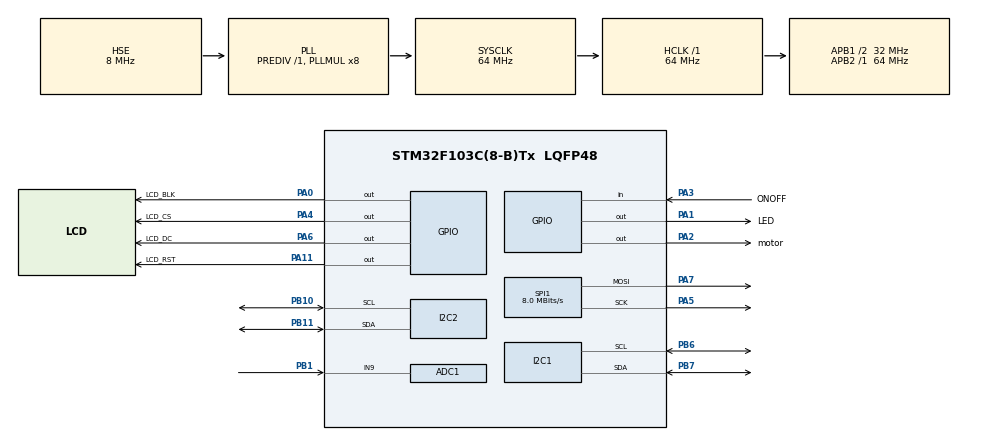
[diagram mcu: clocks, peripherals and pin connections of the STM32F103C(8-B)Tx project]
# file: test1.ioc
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ADC1.Channel-0\#ChannelRegularConversion=ADC_CHANNEL_9
ADC1.NbrOfConversionFlag=1
ADC1.Rank-0\#ChannelRegularConversion=1
ADC1.SamplingTime-0\#ChannelRegularConversion=ADC_SAMPLETIME_1CYCLE_5
ADC1.master=1
Dma.Request0=SPI1_TX
Dma.SPI1_TX.0.Direction=DMA_MEMORY_TO_PERIPH
Dma.SPI1_TX.0.Instance=DMA1_Channel3
Dma.SPI1_TX.0.MemDataAlignment=DMA_MDATAALIGN_BYTE
Dma.SPI1_TX.0.MemInc=DMA_MINC_ENABLE
Dma.SPI1_TX.0.Mode=DMA_NORMAL
Dma.SPI1_TX.0.PeriphDataAlignment=DMA_PDATAALIGN_BYTE
Dma.SPI1_TX.0.PeriphInc=DMA_PINC_DISABLE
Dma.SPI1_TX.0.Priority=DMA_PRIORITY_MEDIUM
Mcu.Family=STM32F1
Mcu.Name=STM32F103C(8-B)Tx
Mcu.Package=LQFP48
NVIC.ADC1_2_IRQn=true\:0\:0\:false\:false\:true\:true\:true\:true
NVIC.DMA1_Channel3_IRQn=true\:0\:0\:false\:false\:true\:false\:true\:true
NVIC.I2C1_ER_IRQn=true\:0\:0\:false\:false\:true\:true\:true\:true
NVIC.I2C1_EV_IRQn=true\:0\:0\:false\:false\:true\:true\:true\:true
NVIC.I2C2_ER_IRQn=true\:0\:0\:false\:false\:true\:true\:true\:true
NVIC.I2C2_EV_IRQn=true\:0\:0\:false\:false\:true\:true\:true\:true
NVIC.PriorityGroup=NVIC_PRIORITYGROUP_4
NVIC.RTC_Alarm_IRQn=true\:0\:0\:false\:false\:true\:true\:true\:true
NVIC.RTC_IRQn=true\:0\:0\:false\:false\:true\:true\:true\:true
PA0-WKUP.GPIO_Label=LCD_BLK
PA0-WKUP.GPIO_Speed=GPIO_SPEED_FREQ_HIGH
PA0-WKUP.PinState=GPIO_PIN_SET
PA0-WKUP.Signal=GPIO_Output
PA1.GPIO_Label=LED
PA1.GPIO_Speed=GPIO_SPEED_FREQ_HIGH
PA1.Signal=GPIO_Output
PA10.Signal=USART1_RX
PA11.GPIO_Label=LCD_RST
PA11.GPIO_Speed=GPIO_SPEED_FREQ_HIGH
PA11.PinState=GPIO_PIN_SET
PA11.Signal=GPIO_Output
PA2.GPIO_Label=motor
PA2.GPIO_Speed=GPIO_SPEED_FREQ_HIGH
PA2.PinState=GPIO_PIN_RESET
PA2.Signal=GPIO_Output
PA3.GPIO_Label=ONOFF
PA3.GPIO_PuPd=GPIO_PULLUP
PA3.Signal=GPIO_Input
PA4.GPIO_Label=LCD_CS
PA4.GPIO_Speed=GPIO_SPEED_FREQ_HIGH
PA4.PinState=GPIO_PIN_SET
PA4.Signal=GPIO_Output
PA5.Mode=TX_Only_Simplex_Unidirect_Master
PA5.Signal=SPI1_SCK
PA6.GPIO_Label=LCD_DC
PA6.GPIO_Speed=GPIO_SPEED_FREQ_HIGH
PA6.PinState=GPIO_PIN_SET
PA6.Signal=GPIO_Output
PA7.Mode=TX_Only_Simplex_Unidirect_Master
PA7.Signal=SPI1_MOSI
PA9.Signal=USART1_TX
PB1.Signal=ADCx_IN9
PB10.Mode=I2C
PB10.Signal=I2C2_SCL
PB11.Mode=I2C
PB11.Signal=I2C2_SDA
PB6.Mode=I2C
PB6.Signal=I2C1_SCL
PB7.Mode=I2C
PB7.Signal=I2C1_SDA
PC14-OSC32_IN.Mode=LSE-External-Oscillator
PC14-OSC32_IN.Signal=RCC_OSC32_IN
PC15-OSC32_OUT.Mode=LSE-External-Oscillator
PC15-OSC32_OUT.Signal=RCC_OSC32_OUT
PD0-OSC_IN.Mode=HSE-External-Oscillator
PD0-OSC_IN.Signal=RCC_OSC_IN
PD1-OSC_OUT.Mode=HSE-External-Oscillator
PD1-OSC_OUT.Signal=RCC_OSC_OUT
ProjectManager.HeapSize=0x200
ProjectManager.StackSize=0x400
ProjectManager.TargetToolchain=STM32CubeIDE
RCC.ADCPresc=RCC_ADCPCLK2_DIV6
RCC.AHBFreq_Value=64000000
RCC.APB1CLKDivider=RCC_HCLK_DIV2
RCC.APB1Freq_Value=32000000
RCC.APB1TimFreq_Value=64000000
RCC.APB2Freq_Value=64000000
RCC.APB2TimFreq_Value=64000000
RCC.HCLKFreq_Value=64000000
RCC.PLLMUL=RCC_PLL_MUL8
RCC.PLLSourceVirtual=RCC_PLLSOURCE_HSE
RCC.RTCClockSelection=RCC_RTCCLKSOURCE_LSE
RCC.SYSCLKFreq_VALUE=64000000
RCC.SYSCLKSource=RCC_SYSCLKSOURCE_PLLCLK
RCC.USBFreq_Value=64000000
RTC.Date=15
RTC.Hours=4
RTC.Month=RTC_MONTH_JUNE
RTC.WeekDay=RTC_WEEKDAY_SUNDAY
RTC.Year=25
SH.ADCx_IN9.0=ADC1_IN9,IN9
SPI1.BaudRatePrescaler=SPI_BAUDRATEPRESCALER_8
SPI1.CalculateBaudRate=8.0 MBits/s
SPI1.Direction=SPI_DIRECTION_2LINES
SPI1.Mode=SPI_MODE_MASTER
SPI1.VirtualType=VM_MASTER
VP_RTC_VS_RTC_Activate.Mode=RTC_Enabled
VP_RTC_VS_RTC_Calendar.Mode=RTC_Calendar
VP_SYS_VS_ND.Mode=No_Debug
board=custom

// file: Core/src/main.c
/*  ******************************************************************************
  * Author        : VoltVersa
  * Institution   : Thomas More 2025
  ******************************************************************************
*/

/* USER CODE BEGIN Header */
/**
  ******************************************************************************
  * @file           : main.c
  * @brief         : Main program body
  ******************************************************************************
  * @attention
  *
  * Copyright (c) 2025 STMicroelectronics.
  * All rights reserved.
  *
  * This software is licensed under terms that can be found in the LICENSE file
  * in the root directory of this software component.
  * If no LICENSE file comes with this software, it is provided AS-IS.
  *
  ******************************************************************************
  */
/* USER CODE END Header */
#include "main.h"

/* USER CODE BEGIN Includes */
#include "cg9a01.h"

#include "font8x16.h"
#include "max30102_for_stm32_hal.h"
#include <stdio.h>     // for snprintf()
#include <stdbool.h>   // for bool, true, false
#include <stdint.h>
#include <string.h>
#include <stdlib.h>
#include <string.h>
#include <math.h>
/* USER CODE END Includes */

ADC_HandleTypeDef hadc1;

I2C_HandleTypeDef hi2c1;
I2C_HandleTypeDef hi2c2;

RTC_HandleTypeDef hrtc;

SPI_HandleTypeDef hspi1;
DMA_HandleTypeDef hdma_spi1_tx;

/* USER CODE BEGIN PV */
/* ===================== UI colors ===================== */
#define BACKGROUND  0x0010   // dark navy background
/* ===================== TMP117 (I2C temperature sensor) ===================== */
#define TMP117_ADDR_BASE 0x48
#define TMP117_ADDR (TMP117_ADDR_BASE << 1) // HAL uses 8-bit address
#define TMP117_REG_TEMP 0x00
#define TMP117_REG_CONFIG 0x01
#define TMP117_REG_ID 0x0F
#define TMP117_DRDY_BIT (1U << 13) // CONFIG bit13 = DRDY
#define TMP117_LSB_C (0.0078125f) // 1 LSB = 0.0078125 °C

/* ===================== Battery measurement (10k:10k divider) ===================== */
#define ADC_MAX 4095.0f
#define VDDA 3.300f   /
#define R_TOP_OHM 10000.0f
#define R_BOTTOM_OHM 10000.0f
#define DIV_GAIN ((R_TOP_OHM + R_BOTTOM_OHM) / R_BOTTOM_OHM) // = 2.0 with 10k:10k
#define NUM_SAMPLES 16 // boxcar average

/* ===================== Alerts thresholds & hysteresis ===================== */
#define TEMP_HIGH_C 38.0f
#define TEMP_HIGH_CLEAR 37.5f
#define TEMP_LOW_C 35.0f
#define TEMP_LOW_CLEAR 35.5f
#define BPM_HIGH 120.0f
#define BPM_HIGH_CLEAR 115.0f
#define BPM_LOW 50.0f
#define BPM_LOW_CLEAR 55.0f
#define BATTERY_LOW_PCT 20
#define BATTERY_LOW_CLEAR 25

#define VIB_MS 120 // vibration duration (ms)
#define ALERT_SNOOZE_MS 120000UL // 2 min snooze after ACK

/* ===================== Types & globals ===================== */
typedef enum {
ALERT_NONE = 0,
ALERT_TEMP_HIGH,
ALERT_TEMP_LOW,
ALERT_BPM_HIGH,
ALERT_BPM_LOW,
ALERT_BATT_LOW
} alert_t;

static alert_t alert_state = ALERT_NONE;
static uint32_t vib_off_tick = 0; // stopwatch for motor auto-OFF
static uint32_t alert_snooze_until = 0; // suppress alerts until this tick

// BPM smoothing
#define IR_BUFFER_SIZE 800
uint32_t ir_buffer[IR_BUFFER_SIZE];
uint32_t ir_index = 0;
float g_bpm = 0.0f;
float bpm_buffer[20] = {0};
int bpm_index = 0;
int bpm_count = 0;
uint32_t last_beat_time = 0;
#define MAX30205_ADDR       (0x48 << 1)  // 0x90 write, 0x91 read
#define MAX30205_TEMP_REG   0x00
char received_char;

// RTC
static RTC_TimeTypeDef nowTime;
static RTC_DateTypeDef nowDate;

// MAX30102 instance

// Display power & key debounce
static bool display_on = true;
static uint32_t btn_last_tick = 0;
static uint8_t btn_last_level = 1; // with pull-up, idle=1

/* USER CODE END PV */

void SystemClock_Config(void);
static void MX_GPIO_Init(void);
static void MX_DMA_Init(void);
static void MX_I2C1_Init(void);
static void MX_I2C2_Init(void);
static void MX_RTC_Init(void);
static void MX_SPI1_Init(void);
static void MX_ADC1_Init(void);
/* USER CODE BEGIN PFP */
void calculate_bpm(uint32_t *buffer, uint32_t length);
volatile uint8_t uart_flag = 0;
static void UI_DrawStatic(void);
static HAL_StatusTypeDef TMP117_Read16(uint8_t reg, uint16_t *out);
static HAL_StatusTypeDef TMP117_Write16(uint8_t reg, uint16_t val);
static void TMP117_StartContinuous_1Hz(void);
static bool TMP117_WaitDRDY(uint32_t timeout_ms);
static float TMP117_ReadTemp_Sync(uint32_t timeout_ms);
static uint16_t TMP117_ReadID(void);
static void Display_Set(bool on);
static bool OnOffButton_Toggled(void);
static void Vibrate_Start(uint32_t ms);
static void Vibrate_Stop(void);
static void Vibrate_Task(void);
static alert_t DecideAlert(float tempC, float bpm, int bat_pct);
static float ReadVBat_V(void);
static int LipoPercentFromVoltage(float v);
/* USER CODE END PFP */

/* USER CODE BEGIN 0 */
/* ===================== TMP117 helpers ===================== */
static HAL_StatusTypeDef TMP117_Read16(uint8_t reg, uint16_t *out)
{
    uint8_t d[2];
    HAL_StatusTypeDef st = HAL_I2C_Mem_Read(&hi2c2, TMP117_ADDR, reg,
                                            I2C_MEMADD_SIZE_8BIT, d, 2, HAL_MAX_DELAY);
    if (st == HAL_OK) *out = (uint16_t)((d[0] << 8) | d[1]);
    return st;
}

static HAL_StatusTypeDef TMP117_Write16(uint8_t reg, uint16_t val)
{
    uint8_t d[2] = { (uint8_t)(val >> 8), (uint8_t)(val & 0xFF) };
    return HAL_I2C_Mem_Write(&hi2c2, TMP117_ADDR, reg,
                              I2C_MEMADD_SIZE_8BIT, d, 2, HAL_MAX_DELAY);
}

// MOD=00 continuous, CONV=100 (1 Hz), AVG=00
static void TMP117_StartContinuous_1Hz(void)
{
    uint16_t cfg = (4U << 7); // bits [9:7] = 100 (1 Hz)
    (void)TMP117_Write16(TMP117_REG_CONFIG, cfg);
}

static bool TMP117_WaitDRDY(uint32_t timeout_ms)
{
    uint32_t t0 = HAL_GetTick();
    while ((HAL_GetTick() - t0) < timeout_ms) {
        uint16_t cfg = 0;
        if (TMP117_Read16(TMP117_REG_CONFIG, &cfg) != HAL_OK) return false;
        if (cfg & TMP117_DRDY_BIT) return true; // fresh sample ready
        HAL_Delay(2);
    }
    return false;
}

static float TMP117_ReadTemp_Sync(uint32_t timeout_ms)
{
    if (!TMP117_WaitDRDY(timeout_ms)) return -100.0f;
    uint16_t raw = 0;
    if (TMP117_Read16(TMP117_REG_TEMP, &raw) != HAL_OK) return -100.0f;
    return (int16_t)raw * TMP117_LSB_C;
}

static uint16_t TMP117_ReadID(void)
{
    uint16_t id = 0; (void)TMP117_Read16(TMP117_REG_ID, &id); return id;
}

/* ===================== MAX30102 BPM (simple peak detector) ===================== */
bool detectPulse(uint32_t irValue)
{
    static uint32_t prev_ir_value = 0;
    static uint8_t falling = 0;
    static uint32_t lastBeat = 0;

    bool pulseDetected = false;

    if (irValue > 50000 && irValue < 300000) // instead of 100000
    {
        if (irValue > prev_ir_value)
        {
            falling = 0;
        }
        else if (irValue < prev_ir_value)
        {
            if (!falling)
            {
                // Detected peak
                uint32_t now = HAL_GetTick();
                uint32_t beat_interval = now - lastBeat;
                lastBeat = now;

                if (beat_interval > 300 && beat_interval < 1500)
                {
                    float bpm = 60000.0f / beat_interval;
                    bpm_buffer[bpm_index++] = bpm;
                    if (bpm_index >= 10) bpm_index = 0;
                    if (bpm_count < 10) bpm_count++;

                    float bpm_sum = 0.0f;
                    for (int i = 0; i < bpm_count; ++i) bpm_sum += bpm_buffer[i];
                    g_bpm = bpm_sum / bpm_count;
                    pulseDetected = true;
                }
                falling = 1;
            }
        }
    }

    prev_ir_value = irValue;

    return pulseDetected;
}
max30102_t max30102;

/* ===================== UI helpers ===================== */
static void UI_DrawStatic(void)
{
    ClearScreen2(BACKGROUND);
    GC9A01_Draw_String(20,  60, "BPM:");
    GC9A01_Draw_String(20,  80, "TEMP:");
    GC9A01_Draw_String(20, 100, "TIME:");
    GC9A01_Draw_String(20, 120, "DATE:");
    GC9A01_Draw_String(20, 140, "Vbat:");
    GC9A01_Draw_String(20, 160, "Batt:");
}

static void UI_ShowAlert(const char* line1, const char* line2)
{
    ClearScreen2(BACKGROUND);
    GC9A01_Draw_String(20,  90, line1);
    if (line2 && line2[0]) GC9A01_Draw_String(20, 110, line2);
}

/* ===================== Display backlight & key ===================== */
static void Display_Set(bool on)
{
    display_on = on;
    HAL_GPIO_WritePin(LCD_BLK_GPIO_Port, LCD_BLK_Pin, on ? GPIO_PIN_SET : GPIO_PIN_RESET);
    if (!on) { HAL_GPIO_WritePin(motor_GPIO_Port, motor_Pin, GPIO_PIN_RESET); vib_off_tick = 0; }
    if (on) UI_DrawStatic(); else ClearScreen2(BACKGROUND);
}

// Debounced, active-low push button -> returns true on press edge
static bool OnOffButton_Toggled(void)
{
    uint8_t level = HAL_GPIO_ReadPin(ONOFF_GPIO_Port, ONOFF_Pin); // 1=idle, 0=pressed
    uint32_t now = HAL_GetTick();
    if (level != btn_last_level) {
        if ((now - btn_last_tick) >= 40) {
            bool falling_edge = (btn_last_level == 1 && level == 0);
            btn_last_level = level; btn_last_tick = now;
            if (falling_edge) return true;
        }
    }
    return false;
}

/* ===================== Vibration motor ===================== */
static void Vibrate_Start(uint32_t ms)
{
    HAL_GPIO_WritePin(motor_GPIO_Port, motor_Pin, GPIO_PIN_SET);
    vib_off_tick = HAL_GetTick() + ms;
}
static void Vibrate_Stop(void)
{
    HAL_GPIO_WritePin(motor_GPIO_Port, motor_Pin, GPIO_PIN_RESET);
    vib_off_tick = 0;
}
static void Vibrate_Task(void)
{
    if (vib_off_tick && HAL_GetTick() >= vib_off_tick) {
        HAL_GPIO_WritePin(motor_GPIO_Port, motor_Pin, GPIO_PIN_RESET);
        vib_off_tick = 0;
    }
}

/* ===================== Alerts engine ===================== */
static alert_t DecideAlert(float tempC, float bpm, int bat_pct)
{
    switch (alert_state) {
        case ALERT_NONE:
            if (bat_pct <= BATTERY_LOW_PCT)            return ALERT_BATT_LOW;
            if (tempC > -50.0f && tempC >= TEMP_HIGH_C) return ALERT_TEMP_HIGH;
            if (tempC > -50.0f && tempC <= TEMP_LOW_C)  return ALERT_TEMP_LOW;
            if (bpm >= BPM_HIGH)                        return ALERT_BPM_HIGH;
            if (bpm > 1.0f && bpm <= BPM_LOW)          return ALERT_BPM_LOW;
            return ALERT_NONE;
        case ALERT_BATT_LOW: return (bat_pct >= BATTERY_LOW_CLEAR) ? ALERT_NONE : ALERT_BATT_LOW;
        case ALERT_TEMP_HIGH:return (tempC <  TEMP_HIGH_CLEAR)     ? ALERT_NONE : ALERT_TEMP_HIGH;
        case ALERT_TEMP_LOW: return (tempC >  TEMP_LOW_CLEAR)      ? ALERT_NONE : ALERT_TEMP_LOW;
        case ALERT_BPM_HIGH: return (bpm   <= BPM_HIGH_CLEAR)      ? ALERT_NONE : ALERT_BPM_HIGH;
        case ALERT_BPM_LOW:  return (bpm   >= BPM_LOW_CLEAR)       ? ALERT_NONE : ALERT_BPM_LOW;
    }
    return ALERT_NONE;
}

/* ===================== Battery helpers ===================== */
typedef struct { float v; int pct; } vp_t;
static const vp_t lipo_lut[] = {
    {4.20f, 100}, {4.15f, 95}, {4.10f, 90}, {4.05f, 85},
    {4.00f, 80},  {3.96f, 75}, {3.92f, 70}, {3.88f, 65},
    {3.85f, 60},  {3.83f, 55}, {3.80f, 50}, {3.78f, 45},
    {3.75f, 40},  {3.73f, 35}, {3.71f, 30}, {3.69f, 25},
    {3.67f, 20},  {3.64f, 15}, {3.61f, 10}, {3.50f, 0}
};

static int LipoPercentFromVoltage(float v)
{
    if (v >= lipo_lut[0].v) return 100;
    if (v <= lipo_lut[sizeof(lipo_lut)/sizeof(lipo_lut[0]) - 1].v) return 0;
    for (size_t i = 0; i < sizeof(lipo_lut)/sizeof(lipo_lut[0]) - 1; ++i) {
        if (v <= lipo_lut[i].v && v >= lipo_lut[i+1].v) {
            float dv   = lipo_lut[i].v   - lipo_lut[i+1].v;
            float dpct = (float)lipo_lut[i].pct - (float)lipo_lut[i+1].pct;
            float t    = (dv > 0.0f) ? (lipo_lut[i].v - v) / dv : 0.0f;
            int pct    = (int)((float)lipo_lut[i].pct - t * dpct + 0.5f);
            if (pct < 0) pct = 0; else if (pct > 100) pct = 100; return pct;
        }
    }
    return 0;
}

static float ReadVBat_V(void)
{
    /* Dummy read for settling */
    HAL_ADC_Start(&hadc1);
    HAL_ADC_PollForConversion(&hadc1, 10);
    (void)HAL_ADC_GetValue(&hadc1);
    HAL_ADC_Stop(&hadc1);

    uint32_t sum = 0;
    for (int i = 0; i < NUM_SAMPLES; i++) {
        HAL_ADC_Start(&hadc1);
        HAL_ADC_PollForConversion(&hadc1, 10);
        sum += HAL_ADC_GetValue(&hadc1);
        HAL_ADC_Stop(&hadc1);
    }
    float raw   = (float)(sum / NUM_SAMPLES);
    float v_adc = (raw / ADC_MAX) * VDDA   ;// voltage at ADC pin
    float v_bat = v_adc * DIV_GAIN;         // back to pack voltage
    return v_bat;
}

/* USER CODE END 0 */

int main(void)
{

  /* MCU Configuration--------------------------------------------------------*/

  /* Reset of all peripherals, Initializes the Flash interface and the Systick. */
  HAL_Init();

  /* Configure the system clock */
  SystemClock_Config();

  /* Initialize all configured peripherals */
  MX_GPIO_Init();
  MX_DMA_Init();
  MX_I2C1_Init();
  MX_I2C2_Init();
  MX_RTC_Init();
  MX_SPI1_Init();
  MX_ADC1_Init();
  /* USER CODE BEGIN 2 */
  HAL_ADCEx_Calibration_Start(&hadc1);

 // HAL_UART_Receive_IT(&huart1, &received_char, 1); // Enable UART RX interrupt

  /* ---- Display init & static UI ---- */
    GC9A01_Initial();
    UI_DrawStatic();
    Display_Set(true);   // ensure backlight state matches and UI is drawn

    /* ---- MAX30102 init: basic SpO2 mode with modest currents ---- */
	  max30102_init(&max30102, &hi2c1);
	  max30102_reset(&max30102);
	  max30102_clear_fifo(&max30102);
	  max30102_set_fifo_config(&max30102, max30102_smp_ave_8, 1, 7);

	  // Sensor settings
	  max30102_set_led_pulse_width(&max30102, max30102_pw_16_bit);
	  max30102_set_adc_resolution(&max30102, max30102_adc_2048);
	  max30102_set_sampling_rate(&max30102, max30102_sr_50);
	  max30102_set_led_current_1(&max30102, 6.2);
	  max30102_set_led_current_2(&max30102, 15);

	  // Enter SpO2 mode
	  max30102_set_mode(&max30102, max30102_spo2);
	  max30102_set_a_full(&max30102, 1);

	  // Initiate 1 temperature measurement
	  max30102_set_die_temp_en(&max30102, 1);
	  max30102_set_die_temp_rdy(&max30102, 1);

	  uint8_t en_reg[2] = {0};
	  max30102_read(&max30102, 0x00, en_reg, 1);
    /* ---- TMP117 init: continuous 1 Hz + quick identity check ---- */
    TMP117_StartContinuous_1Hz();
    uint16_t tmp117_id = TMP117_ReadID();
    if (tmp117_id != 0x0117) {
        // If you see this, address wiring may be 0x49..0x4B or sensor not present.
        GC9A01_Draw_String(20, 160, "TMP117?");
    }
    uint32_t lastUpdate = 0;

  /* USER CODE END 2 */

  /* Infinite loop */
  while (1)
  {

    /* USER CODE BEGIN 3 */

      // Button: ACK alert or toggle display
      if (OnOffButton_Toggled()) {
          if (alert_state != ALERT_NONE) {
              Vibrate_Stop();
              alert_snooze_until = HAL_GetTick() + ALERT_SNOOZE_MS;
              alert_state = ALERT_NONE;
              UI_DrawStatic();
          } else {
              Display_Set(!display_on);
          }
      }

      // Motor auto-off
      Vibrate_Task();

      // Keep sampling even if screen is off (we just skip drawing)
      // Read whatever the sensor has and process ALL non-zero IR samples
      max30102_read_fifo(&max30102);

      for (int i = 0; i < 50; ++i) {
          uint32_t ir  = max30102._ir_samples[i];
          if (ir == 0) continue;          // skip empty slots
          detectPulse(ir);
      }

      float tempC = TMP117_ReadTemp_Sync(1200);      // wait up to one 1 Hz cycle
      float v_bat = ReadVBat_V();
      static float filtered_vbat = -1.0f;

      if (filtered_vbat < 0.0f) {
          filtered_vbat = v_bat;
      } else if (fabsf(v_bat - filtered_vbat) > 0.15f) {  // >150 mV jump? snap to it
          filtered_vbat = v_bat;
      } else {
          filtered_vbat = 0.8f*filtered_vbat + 0.2f*v_bat; // faster settling
      }

      int battery_percent = LipoPercentFromVoltage(filtered_vbat);

      // Alert engine with snooze
      bool    snoozed    = (alert_snooze_until != 0U) && (HAL_GetTick() < alert_snooze_until);
      alert_t decided    = DecideAlert(tempC, g_bpm, battery_percent);
      alert_t new_alert  = snoozed ? ALERT_NONE : decided;

      if (new_alert != alert_state) {
          alert_state = new_alert;
          if (alert_state != ALERT_NONE) {
              Vibrate_Start(VIB_MS);
              char line1[32], line2[32] = {0};
              switch (alert_state) {
                  case ALERT_BATT_LOW:
                      snprintf(line1, sizeof(line1), "LOW BATTERY!");
                      snprintf(line2, sizeof(line2), "%d%%  (<=%d%%)", battery_percent, BATTERY_LOW_PCT);
                      break;
                  case ALERT_TEMP_HIGH:
                      snprintf(line1, sizeof(line1), "TEMP TOO HIGH!");
                      snprintf(line2, sizeof(line2), "%.2f C  (>%.1f)", tempC, TEMP_HIGH_C);
                      break;
                  case ALERT_TEMP_LOW:
                      snprintf(line1, sizeof(line1), "TEMP TOO LOW!");
                      snprintf(line2, sizeof(line2), "%.2f C  (<%.1f)", tempC, TEMP_LOW_C);
                      break;
                  case ALERT_BPM_HIGH:
                      snprintf(line1, sizeof(line1), "HIGH BPM!");
                      snprintf(line2, sizeof(line2), "%.1f  (>%.0f)", g_bpm, BPM_HIGH);
                      break;
                  case ALERT_BPM_LOW:
                      snprintf(line1, sizeof(line1), "LOW BPM!");
                      snprintf(line2, sizeof(line2), "%.1f  (<%.0f)", g_bpm, BPM_LOW);
                      break;
                  default: break;
              }
              UI_ShowAlert(line1, line2);
          } else {
              UI_DrawStatic();
          }
      }
      if (alert_snooze_until && HAL_GetTick() >= alert_snooze_until) alert_snooze_until = 0;

      // UI refresh (skip if screen off or in alert)
      if (display_on && alert_state == ALERT_NONE) {
          uint32_t now = HAL_GetTick();
          if ((now - lastUpdate) >= 500) {
              lastUpdate = now;
              HAL_RTC_GetTime(&hrtc, &nowTime, RTC_FORMAT_BIN);
              HAL_RTC_GetDate(&hrtc, &nowDate, RTC_FORMAT_BIN);
              char bpmStr[24], tempStr[24], timeStr[24], dateStr[24], vbatStr[24], batperStr[24];
              snprintf(bpmStr,   sizeof(bpmStr),   "%5.1f  ", g_bpm);
              if (tempC > -50.0f) snprintf(tempStr, sizeof(tempStr), "%6.2f C  ", tempC);
              else                 snprintf(tempStr, sizeof(tempStr), "  --      ");
              snprintf(timeStr,  sizeof(timeStr),  "%02u:%02u:%02u",
                       nowTime.Hours, nowTime.Minutes, nowTime.Seconds);
              snprintf(dateStr,  sizeof(dateStr),  "%02u-%02u-20%02u",
                       nowDate.Date, nowDate.Month, nowDate.Year);
              snprintf(vbatStr,  sizeof(vbatStr),  "%6.3f V  ", filtered_vbat);
              snprintf(batperStr,sizeof(batperStr),"%3d %%   ", battery_percent);
              GC9A01_Draw_String(90,  60, bpmStr);
              GC9A01_Draw_String(90,  80, tempStr);
              GC9A01_Draw_String(90, 100, timeStr);
              GC9A01_Draw_String(90, 120, dateStr);
              GC9A01_Draw_String(90, 140, vbatStr);
              GC9A01_Draw_String(90, 160, batperStr);
          }
      }
  }

  /* USER CODE END 3 */
}

void SystemClock_Config(void)
{
  RCC_OscInitTypeDef RCC_OscInitStruct = {0};
  RCC_ClkInitTypeDef RCC_ClkInitStruct = {0};
  RCC_PeriphCLKInitTypeDef PeriphClkInit = {0};

  /** Initializes the RCC Oscillators according to the specified parameters
  * in the RCC_OscInitTypeDef structure.
  */
  RCC_OscInitStruct.OscillatorType = RCC_OSCILLATORTYPE_HSE|RCC_OSCILLATORTYPE_LSE;
  RCC_OscInitStruct.HSEState = RCC_HSE_ON;
  RCC_OscInitStruct.HSEPredivValue = RCC_HSE_PREDIV_DIV1;
  RCC_OscInitStruct.LSEState = RCC_LSE_ON;
  RCC_OscInitStruct.HSIState = RCC_HSI_ON;
  RCC_OscInitStruct.PLL.PLLState = RCC_PLL_ON;
  RCC_OscInitStruct.PLL.PLLSource = RCC_PLLSOURCE_HSE;
  RCC_OscInitStruct.PLL.PLLMUL = RCC_PLL_MUL8;
  if (HAL_RCC_OscConfig(&RCC_OscInitStruct) != HAL_OK)
  {
    Error_Handler();
  }

  /** Initializes the CPU, AHB and APB buses clocks
  */
  RCC_ClkInitStruct.ClockType = RCC_CLOCKTYPE_HCLK|RCC_CLOCKTYPE_SYSCLK
                              |RCC_CLOCKTYPE_PCLK1|RCC_CLOCKTYPE_PCLK2;
  RCC_ClkInitStruct.SYSCLKSource = RCC_SYSCLKSOURCE_PLLCLK;
  RCC_ClkInitStruct.AHBCLKDivider = RCC_SYSCLK_DIV1;
  RCC_ClkInitStruct.APB1CLKDivider = RCC_HCLK_DIV2;
  RCC_ClkInitStruct.APB2CLKDivider = RCC_HCLK_DIV1;

  if (HAL_RCC_ClockConfig(&RCC_ClkInitStruct, FLASH_LATENCY_2) != HAL_OK)
  {
    Error_Handler();
  }
  PeriphClkInit.PeriphClockSelection = RCC_PERIPHCLK_RTC|RCC_PERIPHCLK_ADC;
  PeriphClkInit.RTCClockSelection = RCC_RTCCLKSOURCE_LSE;
  PeriphClkInit.AdcClockSelection = RCC_ADCPCLK2_DIV6;
  if (HAL_RCCEx_PeriphCLKConfig(&PeriphClkInit) != HAL_OK)
  {
    Error_Handler();
  }
}

static void MX_ADC1_Init(void)
{

  ADC_ChannelConfTypeDef sConfig = {0};

  /** Common config
  */
  hadc1.Instance = ADC1;
  hadc1.Init.ScanConvMode = ADC_SCAN_DISABLE;
  hadc1.Init.ContinuousConvMode = DISABLE;
  hadc1.Init.DiscontinuousConvMode = DISABLE;
  hadc1.Init.ExternalTrigConv = ADC_SOFTWARE_START;
  hadc1.Init.DataAlign = ADC_DATAALIGN_RIGHT;
  hadc1.Init.NbrOfConversion = 1;
  if (HAL_ADC_Init(&hadc1) != HAL_OK)
  {
    Error_Handler();
  }

  /** Configure Regular Channel
  */
  sConfig.Channel = ADC_CHANNEL_9;
  sConfig.Rank = ADC_REGULAR_RANK_1;
  sConfig.SamplingTime = ADC_SAMPLETIME_1CYCLE_5;
  if (HAL_ADC_ConfigChannel(&hadc1, &sConfig) != HAL_OK)
  {
    Error_Handler();
  }

}

static void MX_I2C1_Init(void)
{

  hi2c1.Instance = I2C1;
  hi2c1.Init.ClockSpeed = 100000;
  hi2c1.Init.DutyCycle = I2C_DUTYCYCLE_2;
  hi2c1.Init.OwnAddress1 = 0;
  hi2c1.Init.AddressingMode = I2C_ADDRESSINGMODE_7BIT;
  hi2c1.Init.DualAddressMode = I2C_DUALADDRESS_DISABLE;
  hi2c1.Init.OwnAddress2 = 0;
  hi2c1.Init.GeneralCallMode = I2C_GENERALCALL_DISABLE;
  hi2c1.Init.NoStretchMode = I2C_NOSTRETCH_DISABLE;
  if (HAL_I2C_Init(&hi2c1) != HAL_OK)
  {
    Error_Handler();
  }

}

static void MX_I2C2_Init(void)
{

  hi2c2.Instance = I2C2;
  hi2c2.Init.ClockSpeed = 100000;
  hi2c2.Init.DutyCycle = I2C_DUTYCYCLE_2;
  hi2c2.Init.OwnAddress1 = 0;
  hi2c2.Init.AddressingMode = I2C_ADDRESSINGMODE_7BIT;
  hi2c2.Init.DualAddressMode = I2C_DUALADDRESS_DISABLE;
  hi2c2.Init.OwnAddress2 = 0;
  hi2c2.Init.GeneralCallMode = I2C_GENERALCALL_DISABLE;
  hi2c2.Init.NoStretchMode = I2C_NOSTRETCH_DISABLE;
  if (HAL_I2C_Init(&hi2c2) != HAL_OK)
  {
    Error_Handler();
  }

}

static void MX_RTC_Init(void)
{

  RTC_TimeTypeDef sTime = {0};
  RTC_DateTypeDef DateToUpdate = {0};

  /** Initialize RTC Only
  */
  hrtc.Instance = RTC;
  hrtc.Init.AsynchPrediv = RTC_AUTO_1_SECOND;
  hrtc.Init.OutPut = RTC_OUTPUTSOURCE_ALARM;
  if (HAL_RTC_Init(&hrtc) != HAL_OK)
  {
    Error_Handler();
  }

  /** Initialize RTC and set the Time and Date
  */
  sTime.Hours = 0x4;
  sTime.Minutes = 0x0;
  sTime.Seconds = 0x0;

  if (HAL_RTC_SetTime(&hrtc, &sTime, RTC_FORMAT_BCD) != HAL_OK)
  {
    Error_Handler();
  }
  DateToUpdate.WeekDay = RTC_WEEKDAY_SUNDAY;
  DateToUpdate.Month = RTC_MONTH_JUNE;
  DateToUpdate.Date = 0x15;
  DateToUpdate.Year = 0x25;

  if (HAL_RTC_SetDate(&hrtc, &DateToUpdate, RTC_FORMAT_BCD) != HAL_OK)
  {
    Error_Handler();
  }

}

static void MX_SPI1_Init(void)
{

  /* SPI1 parameter configuration*/
  hspi1.Instance = SPI1;
  hspi1.Init.Mode = SPI_MODE_MASTER;
  hspi1.Init.Direction = SPI_DIRECTION_2LINES;
  hspi1.Init.DataSize = SPI_DATASIZE_8BIT;
  hspi1.Init.CLKPolarity = SPI_POLARITY_LOW;
  hspi1.Init.CLKPhase = SPI_PHASE_1EDGE;
  hspi1.Init.NSS = SPI_NSS_SOFT;
  hspi1.Init.BaudRatePrescaler = SPI_BAUDRATEPRESCALER_8;
  hspi1.Init.FirstBit = SPI_FIRSTBIT_MSB;
  hspi1.Init.TIMode = SPI_TIMODE_DISABLE;
  hspi1.Init.CRCCalculation = SPI_CRCCALCULATION_DISABLE;
  hspi1.Init.CRCPolynomial = 10;
  if (HAL_SPI_Init(&hspi1) != HAL_OK)
  {
    Error_Handler();
  }

}

static void MX_DMA_Init(void)
{

  /* DMA controller clock enable */
  __HAL_RCC_DMA1_CLK_ENABLE();

  /* DMA interrupt init */
  /* DMA1_Channel3_IRQn interrupt configuration */
  HAL_NVIC_SetPriority(DMA1_Channel3_IRQn, 0, 0);
  HAL_NVIC_EnableIRQ(DMA1_Channel3_IRQn);

}

static void MX_GPIO_Init(void)
{
  GPIO_InitTypeDef GPIO_InitStruct = {0};

  /* GPIO Ports Clock Enable */
  __HAL_RCC_GPIOC_CLK_ENABLE();
  __HAL_RCC_GPIOD_CLK_ENABLE();
  __HAL_RCC_GPIOA_CLK_ENABLE();
  __HAL_RCC_GPIOB_CLK_ENABLE();

  /*Configure GPIO pin Output Level */
  HAL_GPIO_WritePin(GPIOA, LCD_BLK_Pin|LCD_CS_Pin|LCD_DC_Pin|LCD_RST_Pin, GPIO_PIN_SET);

  /*Configure GPIO pin Output Level */
  HAL_GPIO_WritePin(GPIOA, LED_Pin|motor_Pin, GPIO_PIN_RESET);

  /*Configure GPIO pins : LCD_BLK_Pin LED_Pin motor_Pin LCD_CS_Pin
                           LCD_DC_Pin LCD_RST_Pin */
  GPIO_InitStruct.Pin = LCD_BLK_Pin|LED_Pin|motor_Pin|LCD_CS_Pin
                          |LCD_DC_Pin|LCD_RST_Pin;
  GPIO_InitStruct.Mode = GPIO_MODE_OUTPUT_PP;
  GPIO_InitStruct.Pull = GPIO_NOPULL;
  GPIO_InitStruct.Speed = GPIO_SPEED_FREQ_HIGH;
  HAL_GPIO_Init(GPIOA, &GPIO_InitStruct);

  /*Configure GPIO pin : ONOFF_Pin */
  GPIO_InitStruct.Pin = ONOFF_Pin;
  GPIO_InitStruct.Mode = GPIO_MODE_INPUT;
  GPIO_InitStruct.Pull = GPIO_PULLUP;
  HAL_GPIO_Init(ONOFF_GPIO_Port, &GPIO_InitStruct);

  /*Configure GPIO pin : PA9 */
  GPIO_InitStruct.Pin = GPIO_PIN_9;
  GPIO_InitStruct.Mode = GPIO_MODE_AF_PP;
  GPIO_InitStruct.Speed = GPIO_SPEED_FREQ_HIGH;
  HAL_GPIO_Init(GPIOA, &GPIO_InitStruct);

  /*Configure GPIO pin : PA10 */
  GPIO_InitStruct.Pin = GPIO_PIN_10;
  GPIO_InitStruct.Mode = GPIO_MODE_INPUT;
  GPIO_InitStruct.Pull = GPIO_NOPULL;
  HAL_GPIO_Init(GPIOA, &GPIO_InitStruct);

}

void Error_Handler(void)
{
  __disable_irq();
  while (1)
  {
  }
}
